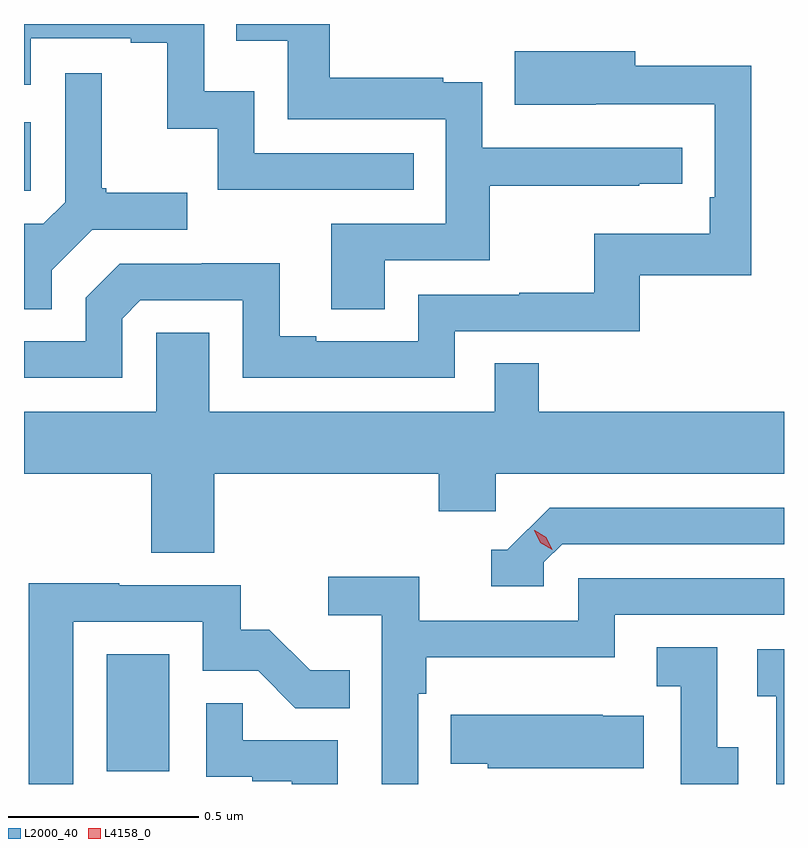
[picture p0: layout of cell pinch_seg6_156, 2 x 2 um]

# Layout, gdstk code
import gdstk
lib = gdstk.Library(unit=1e-6, precision=1e-09)
def R(c, l, rs):  # rectangles x0, y0, x1, y1
    for r in rs: c.add(gdstk.rectangle(r[:2], r[2:], *l))
def P(c, l, *ps):  # polygons
    for p in ps: c.add(gdstk.Polygon(p, *l))
L2000_40 = (2000, 40)
L4158_0 = (4158, 0)

pinch_seg6_156 = lib.new_cell('pinch_seg6_156')
R(pinch_seg6_156, L2000_40, [(997.376,934.566,997.54,934.873), (997.158,936.093,997.176,936.273)])
P(pinch_seg6_156, L2000_40, [(998.107,935.91),(998.384,935.91),(998.384,936.106),(998.777,936.106),(998.777,936.111),(998.89,936.111),(998.89,936.207),(998.364,936.207),(998.364,936.379),(998.261,936.379),(998.261,936.391),(997.963,936.391),(997.963,936.532),(997.717,936.532),(997.717,936.488),(997.852,936.488),(997.852,936.282),(998.268,936.282),(998.268,936.006),(997.967,936.006),(997.967,935.782),(998.107,935.782)],
  [(998.183,936.192),(997.764,936.192),(997.764,936.355),(997.632,936.355),(997.632,936.532),(997.158,936.532),(997.158,936.372),(997.176,936.372),(997.176,936.495),(997.439,936.495),(997.439,936.483),(997.535,936.483),(997.535,936.257),(997.668,936.257),(997.668,936.096),(998.183,936.096)],
  [(997.416,935.757),(997.464,935.805),(997.734,935.805),(997.734,935.601),(998.292,935.601),(998.292,935.724),(998.779,935.724),(998.779,935.871),(999.072,935.871),(999.072,936.422),(998.767,936.422),(998.767,936.46),(998.449,936.46),(998.449,936.32),(998.663,936.32),(998.663,936.321),(998.976,936.321),(998.976,936.076),(998.963,936.076),(998.963,935.98),(998.658,935.98),(998.658,935.825),(998.461,935.825),(998.461,935.82),(998.196,935.82),(998.196,935.697),(997.927,935.697),(997.927,935.71),(997.831,935.71),(997.831,935.903),(997.626,935.903),(997.626,935.901),(997.41,935.901),(997.32,935.811),(997.32,935.697),(997.158,935.697),(997.158,935.601),(997.416,935.601)],
  [(997.231,935.884),(997.338,935.991),(997.588,935.991),(997.588,936.088),(997.375,936.088),(997.375,936.1),(997.363,936.1),(997.363,936.403),(997.266,936.403),(997.266,936.063),(997.209,936.006),(997.158,936.006),(997.158,935.782),(997.231,935.782)],
  [(997.658,935.348),(998.249,935.348),(998.249,935.25),(998.4,935.25),(998.4,935.348),(999.158,935.348),(999.158,935.512),(998.513,935.512),(998.513,935.639),(998.397,935.639),(998.397,935.512),(997.645,935.512),(997.645,935.72),(997.506,935.72),(997.506,935.512),(997.158,935.512),(997.158,935.348),(997.493,935.348),(997.493,935.14),(997.658,935.14)],
  [(998.526,935.115),(998.574,935.163),(999.158,935.163),(999.158,935.259),(998.541,935.259),(998.43,935.148),(998.387,935.148),(998.387,935.052),(998.526,935.052)],
  [(998.196,934.769),(998.216,934.769),(998.216,934.865),(998.712,934.865),(998.712,934.977),(999.158,934.977),(999.158,935.073),(998.616,935.073),(998.616,934.962),(998.198,934.962),(998.198,935.078),(997.959,935.078),(997.959,934.976),(998.1,934.976),(998.1,934.532),(998.196,934.532)],
  [(997.287,934.959),(997.629,934.959),(997.629,934.83),(997.774,934.83),(997.872,934.732),(998.015,934.732),(998.015,934.831),(997.911,934.831),(997.804,934.938),(997.728,934.938),(997.728,935.055),(997.409,935.055),(997.409,935.06),(997.171,935.06),(997.171,934.532),(997.287,934.532)],
  [(999.037,934.629),(998.982,934.629),(998.982,934.892),(998.823,934.892),(998.823,934.789),(998.886,934.789),(998.886,934.532),(999.037,934.532)],
  [(999.158,934.887),(999.087,934.887),(999.087,934.763),(999.138,934.763),(999.138,934.532),(999.158,934.532)],
  [(997.984,934.647),(997.733,934.647),(997.733,934.745),(997.638,934.745),(997.638,934.551),(997.759,934.551),(997.759,934.539),(997.862,934.539),(997.862,934.532),(997.984,934.532)],
  [(998.789,934.711),(998.681,934.711),(998.681,934.714),(998.281,934.714),(998.281,934.585),(998.379,934.585),(998.379,934.574),(998.789,934.574)])
P(pinch_seg6_156, L4158_0, [(998.548,935.148),(998.517,935.167),(998.501,935.2),(998.501,935.2),(998.502,935.2),(998.532,935.181),(998.548,935.148),(998.548,935.148)])

lib.write_gds('pinch_seg6_156.gds')
